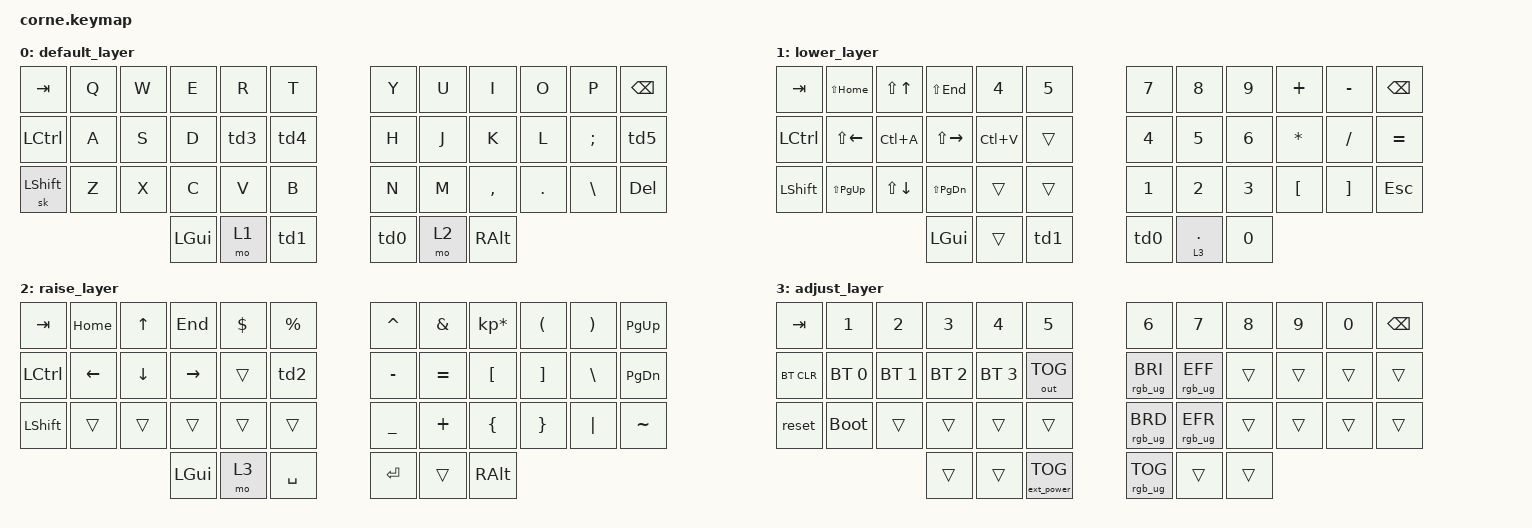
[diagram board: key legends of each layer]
/*
 * Copyright (c) 2020 The ZMK Contributors
 *
 * SPDX-License-Identifier: MIT
 */
//
#include <behaviors.dtsi>
#include <dt-bindings/zmk/keys.h>
#include <dt-bindings/zmk/bt.h>
#include <dt-bindings/zmk/rgb.h>
#include <dt-bindings/zmk/ext_power.h>
#include <dt-bindings/zmk/outputs.h>

/ {
    behaviors {
        td0: tap_dance_0 {
            compatible = "zmk,behavior-tap-dance";
            label = "TAP_DANCE_0";
            #binding-cells = <0>;
            tapping-term-ms = <250>;
            bindings = <&kp SPACE>, <&kp RET>;
        };
    };
    
    behaviors {
        td1: tap_dance_1 {
            compatible = "zmk,behavior-tap-dance";
            label = "TAP_DANCE_1";
            #binding-cells = <0>;
            tapping-term-ms = <250>;
            bindings = <&kp SPACE>, <&kp TAB>, <&kp RET>;
        };
    };
    
    behaviors {
        td2: tap_dance_2 {
            compatible = "zmk,behavior-tap-dance";
            label = "TAP_DANCE_2";
            #binding-cells = <0>;
            tapping-term-ms = <250>;
            bindings = <&kp LC(C)>, <&kp LC(V)>, <&kp LC(X)>;
        };
    };
    
    behaviors {
        td3: tap_dance_3 {
            compatible = "zmk,behavior-tap-dance";
            label = "TAP_DANCE_3";
            #binding-cells = <0>;
            tapping-term-ms = <250>;
            bindings = <&kp F>, <&kp LC(C)>;
        };
    };
    
    behaviors {
        td4: tap_dance_4 {
            compatible = "zmk,behavior-tap-dance";
            label = "TAP_DANCE_4";
            #binding-cells = <0>;
            tapping-term-ms = <250>;
            bindings = <&kp G>, <&kp LC(V)>;
        };
    };
    
    behaviors {
        td5: tap_dance_5 {
            compatible = "zmk,behavior-tap-dance";
            label = "TAP_DANCE_5";
            #binding-cells = <0>;
            tapping-term-ms = <250>;
            bindings = <&kp SQT>, <&kp EQUAL>;
        };
    };
    
    keymap {
                compatible = "zmk,keymap";

                default_layer {
// -----------------------------------------------------------------------------------------
// |  TAB |  Q  |  W  |  E  |  R  |  T  |   |  Y  |  U   |  I  |  O  |  P  | BKSP |
// | CTRL |  A  |  S  |  D  |  F  |  G  |   |  H  |  J   |  K  |  L  |  ;  |  '   |
// | SHFT |  Z  |  X  |  C  |  V  |  B  |   |  N  |  M   |  ,  |  .  |  \  | DEL  |
//                    | GUI | LWR | SPC |   | ENT | RSE  | ALT |
                        bindings = <
   &kp TAB    &kp Q  &kp W  &kp E &kp R &kp T           &kp Y  &kp U   &kp I      &kp O   &kp P     &kp BSPC
   &kp LCTRL  &kp A  &kp S  &kp D &td3  &td4            &kp H  &kp J   &kp K      &kp L   &kp SEMI  &td5
   &sk LSHFT  &kp Z  &kp X  &kp C &kp V &kp B           &kp N  &kp M   &kp COMMA  &kp DOT &kp BSLH  &kp DEL
                        &kp LGUI  &mo 1  &td1           &td0   &mo 2   &kp RALT
                        >;
                };
                lower_layer {
// -----------------------------------------------------------------------------------------
// |  TAB |  1  |  2  |  3  |  4  |  5  |   |  7  |  8  |  9  |  +  |  -  | BKSP |
// | CTRL |     |     |     | td2 |     |   |  4  |  5  |  6  |  *  |  /  |  =   |
// | SHFT |     |     |     |     |     |   |  1  |  2  |  3  |  [  |  ]  | ESC  |
//                    | GUI |     | SPC |   | ENT |     |  0  |
                        bindings = <
   &kp TAB    &kp LS(HOME)  &kp LS(UP)    &kp LS(END)    &kp N4     &kp N5         &kp N7    &kp N8    &kp N9     &kp PLUS    &kp MINUS   &kp BSPC
   &kp LCTRL  &kp LS(LEFT)  &kp LC(A)     &kp LS(RIGHT)  &kp LC(V)  &trans         &kp N4    &kp N5    &kp N6     &kp ASTRK   &kp SLASH   &kp EQUAL
   &kp LSHFT  &kp LS(PG_UP) &kp LS(DOWN)  &kp LS(PG_DN)  &trans     &trans         &kp N1    &kp N2    &kp N3     &kp LBKT    &kp RBKT    &kp ESC
                                            &kp LGUI    &trans      &td1           &td0   &lt 3 DOT    &kp N0
                        >;
                };

                raise_layer {
// -----------------------------------------------------------------------------------------
// |  TAB |  !  |  @  |  #  |  $  |  %  |   |  ^  |  &  |  *  |  (  |  )  |PG_UP |
// | CTRL |     |     |     |     |     |   |  -  |  =  |  [  |  ]  |  \  |PG_DN |
// | SHFT |     |     |     |     |     |   |  _  |  +  |  {  |  }  | "|" |  ~   |
//                    | GUI |     | SPC |   | ENT |     | ALT |
                        bindings = <
   &kp  TAB    &kp HOME   &kp UP     &kp END     &kp DLLR   &kp PRCNT     &kp CARET   &kp AMPS    &kp KP_MULTIPLY  &kp LPAR   &kp RPAR   &kp PG_UP
   &kp LCTRL   &kp LEFT   &kp DOWN   &kp RIGHT   &trans     &td2          &kp MINUS   &kp EQUAL   &kp LBKT         &kp RBKT   &kp BSLH   &kp PG_DN
   &kp LSHFT   &trans     &trans     &trans      &trans     &trans        &kp UNDER   &kp PLUS    &kp LBRC         &kp RBRC   &kp PIPE   &kp TILDE
                    	                  &kp LGUI   &mo 3  &kp SPACE     &kp RET     &trans      &kp RALT
                        >;
                };
                
                adjust_layer {
// -----------------------------------------------------------------------------------------
// |  TAB |  1  |  2  |  3  |  4  |  5  |   |  6  |  7  |  8  |  9  |  0  | BKSP |
// | BTCLR| BT1 | BT2 | BT3 | BT4 | BT5 |   | LFT | DWN |  UP | RGT |     |      |
// | SHFT |     |     |     |     |     |   |     |     |     |     |     |      |
//                    | GUI |     | SPC |   | ENT |     | ALT |
                        bindings = <
   &kp TAB    &kp N1       &kp N2       &kp N3       &kp N4       &kp N5        &kp N6          &kp N7           &kp N8  &kp N9  &kp N0  &kp BSPC
   &bt BT_CLR &bt BT_SEL 0 &bt BT_SEL 1 &bt BT_SEL 2 &bt BT_SEL 3 &out OUT_TOG  &rgb_ug RGB_BRI &rgb_ug RGB_EFF  &trans  &trans  &trans  &trans
   &reset     &bootloader  &trans       &trans       &trans       &trans        &rgb_ug RGB_BRD &rgb_ug RGB_EFR  &trans  &trans  &trans  &trans
                                          &trans     &trans  &ext_power EP_TOG  &rgb_ug RGB_TOG  &trans  &trans
                        >;
                };

        };
};
